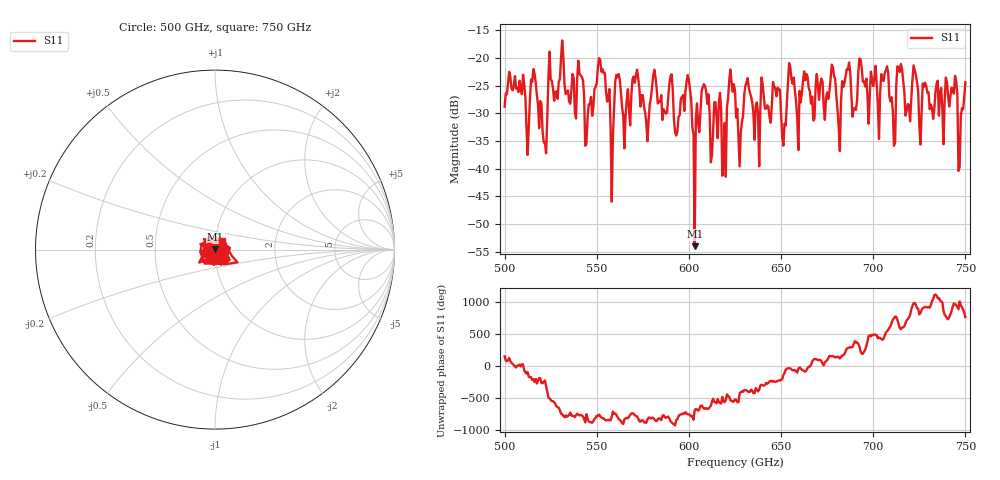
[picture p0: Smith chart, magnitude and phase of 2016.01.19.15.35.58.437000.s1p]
!Created with skrf (http://scikit-rf.org).
# GHz S RI R 50.0
!freq ReS11 ImS11
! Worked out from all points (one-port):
!   401 points, 500 GHz to 750 GHz, reference 50 ohm
!   lowest |S11| = -54.0 dB at 603.1 GHz (marker M1), VSWR 1.00, Z = 50.2 + j0.107 ohm
!   |S11| at or under -10 dB: start of sweep to end of sweep
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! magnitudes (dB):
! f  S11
! 500 GHz  -28.8
! 512.5 GHz  -37.5
! 515.6 GHz  -22.0
! 521.9 GHz  -35.2
! 525 GHz  -23.9
! 531.2 GHz  -16.8
! 545 GHz  -30.9
! 552.5 GHz  -22.5
! 558.1 GHz  -45.9
! 562.5 GHz  -23.9
! 590 GHz  -23.3
! 593.8 GHz  -33.3
! 599.4 GHz  -23.1
! 603.1 GHz  -54.0
! 608.1 GHz  -24.7
! 618.8 GHz  -38.9
! 621.9 GHz  -24.0
! 625 GHz  -25.9
! 651.2 GHz  -35.8
! 656.2 GHz  -24.7
! 687.5 GHz  -22.5
! 706.9 GHz  -22.2
! 710.6 GHz  -29.6
! 714.4 GHz  -22.5
! 718.8 GHz  -28.3
! 743.8 GHz  -26.4
! 747.5 GHz  -30.6
! 750 GHz  -24.4
